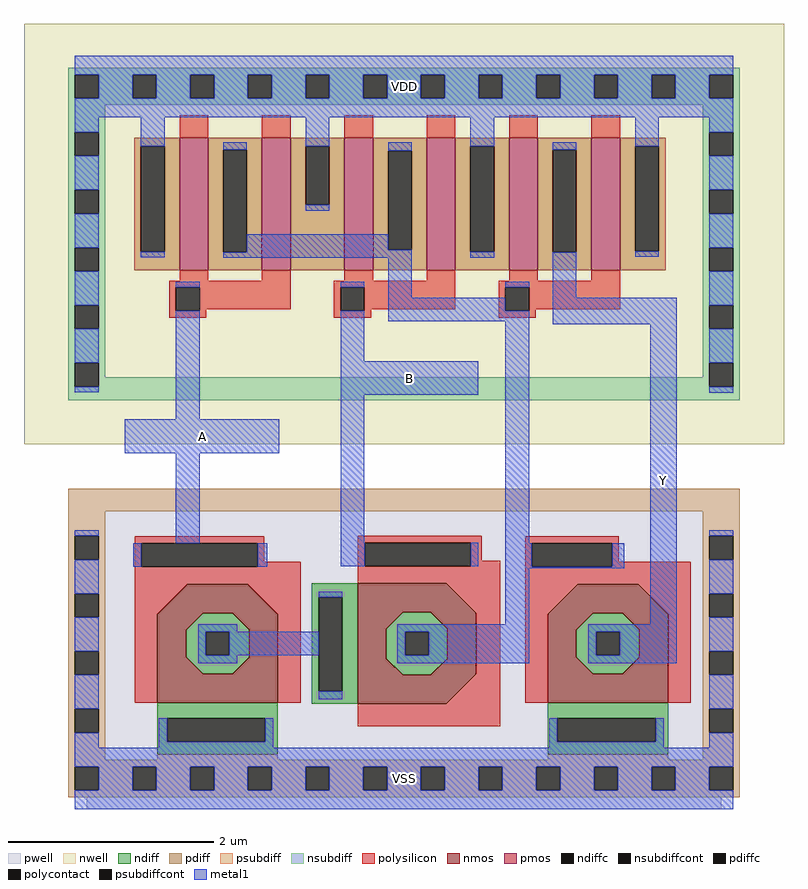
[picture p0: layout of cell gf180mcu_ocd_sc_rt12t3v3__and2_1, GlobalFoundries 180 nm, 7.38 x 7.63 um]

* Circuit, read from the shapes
.subckt gf180mcu_ocd_sc_rt12t3v3__and2_1 VDD VSS Y B A
XM1 n1 A VSS VSS nfet_03v3 w=1.785u l=0.5333u
XM2 n2 B n1 VSS nfet_03v3 w=1.785u l=0.5407u
XM3 Y n2 VSS VSS nfet_03v3 w=1.775u l=0.5371u
XM4 n2 A VDD VDD pfet_03v3 w=1.285u l=0.28u m=2
XM5 n2 B VDD VDD pfet_03v3 w=1.285u l=0.28u m=2
XM6 Y n2 VDD VDD pfet_03v3 w=1.285u l=0.28u m=2
.ends

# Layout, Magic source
magic
tech gf180mcuD
magscale 1 10
<< nwell >>
rect -122 649 1354 1466
<< pwell >>
rect -36 -36 1268 563
rect 0 -60 1232 -36
<< nmos >>
tri 137 319 195 377 se
rect 195 321 313 377
rect 195 319 223 321
tri 223 319 225 321 nw
tri 283 319 285 321 ne
rect 285 319 313 321
tri 313 319 371 377 sw
rect 137 203 193 319
tri 193 289 223 319 nw
tri 285 289 315 319 ne
tri 193 203 225 235 sw
tri 283 203 315 235 se
rect 315 203 371 319
rect 137 147 371 203
rect 526 359 698 379
tri 698 359 718 379 sw
rect 526 323 718 359
rect 526 201 582 323
tri 582 291 614 323 nw
tri 668 291 700 323 ne
rect 700 321 718 323
tri 718 321 756 359 sw
tri 582 201 614 233 sw
tri 698 231 700 233 se
rect 700 231 756 321
tri 668 201 698 231 se
rect 698 203 756 231
rect 526 145 698 201
tri 698 145 756 203 nw
tri 895 319 953 377 se
rect 953 321 1071 377
rect 953 319 981 321
tri 981 319 983 321 nw
tri 1041 319 1043 321 ne
rect 1043 319 1071 321
tri 1071 319 1129 377 sw
rect 895 203 951 319
tri 951 289 981 319 nw
tri 1043 289 1073 319 ne
tri 951 203 983 235 sw
tri 1041 203 1073 235 se
rect 1073 203 1129 319
rect 895 147 1129 203
<< pmos >>
rect 180 987 236 1244
rect 340 987 396 1244
rect 500 987 556 1244
rect 660 987 716 1244
rect 820 987 876 1244
rect 980 987 1036 1244
<< ndiff >>
tri 223 319 225 321 se
rect 225 319 283 321
tri 283 319 285 321 sw
tri 193 289 223 319 se
rect 223 289 285 319
tri 285 289 315 319 sw
rect 193 285 315 289
rect 193 239 231 285
rect 277 239 315 285
rect 193 235 315 239
tri 193 203 225 235 ne
rect 225 203 283 235
tri 283 203 315 235 nw
rect 437 352 526 379
rect 437 169 450 352
rect 496 169 526 352
tri 582 291 614 323 se
rect 614 291 668 323
tri 668 291 700 323 sw
rect 582 285 700 291
rect 582 239 618 285
rect 664 239 700 285
rect 582 233 700 239
tri 582 201 614 233 ne
rect 614 231 698 233
tri 698 231 700 233 nw
rect 614 201 668 231
tri 668 201 698 231 nw
rect 137 117 371 147
rect 437 145 526 169
tri 981 319 983 321 se
rect 983 319 1041 321
tri 1041 319 1043 321 sw
tri 951 289 981 319 se
rect 981 289 1043 319
tri 1043 289 1073 319 sw
rect 951 285 1073 289
rect 951 239 989 285
rect 1035 239 1073 285
rect 951 235 1073 239
tri 951 203 983 235 ne
rect 983 203 1041 235
tri 1041 203 1073 235 nw
rect 137 71 156 117
rect 347 71 371 117
rect 895 117 1129 147
rect 137 47 371 71
rect 895 71 914 117
rect 1105 71 1129 117
rect 895 47 1129 71
<< pdiff >>
rect 92 1228 180 1244
rect 92 1023 105 1228
rect 151 1023 180 1228
rect 92 987 180 1023
rect 236 1221 340 1244
rect 236 1022 265 1221
rect 311 1022 340 1221
rect 236 987 340 1022
rect 396 1228 500 1244
rect 396 1114 425 1228
rect 471 1114 500 1228
rect 396 987 500 1114
rect 556 1219 660 1244
rect 556 1027 585 1219
rect 631 1027 660 1219
rect 556 987 660 1027
rect 716 1228 820 1244
rect 716 1023 745 1228
rect 791 1023 820 1228
rect 716 987 820 1023
rect 876 1221 980 1244
rect 876 1022 905 1221
rect 951 1022 980 1221
rect 876 987 980 1022
rect 1036 1228 1124 1244
rect 1036 1024 1065 1228
rect 1111 1024 1124 1228
rect 1036 987 1124 1024
<< ndiffc >>
rect 231 239 277 285
rect 450 169 496 352
rect 618 239 664 285
rect 989 239 1035 285
rect 156 71 347 117
rect 914 71 1105 117
<< pdiffc >>
rect 105 1023 151 1228
rect 265 1022 311 1221
rect 425 1114 471 1228
rect 585 1027 631 1219
rect 745 1023 791 1228
rect 905 1022 951 1221
rect 1065 1024 1111 1228
<< psubdiff >>
rect -36 519 1268 563
rect -36 471 36 519
rect 1196 471 1268 519
rect -36 425 -23 471
rect 23 425 36 471
rect -36 359 36 425
rect -36 313 -23 359
rect 23 313 36 359
rect -36 247 36 313
rect -36 201 -23 247
rect 23 201 36 247
rect -36 135 36 201
rect -36 89 -23 135
rect 23 89 36 135
rect -36 36 36 89
rect 1196 425 1209 471
rect 1255 425 1268 471
rect 1196 359 1268 425
rect 1196 313 1209 359
rect 1255 313 1268 359
rect 1196 247 1268 313
rect 1196 201 1209 247
rect 1255 201 1268 247
rect 137 36 371 47
rect 895 36 1129 47
rect 1196 135 1268 201
rect 1196 89 1209 135
rect 1255 89 1268 135
rect 1196 36 1268 89
rect -36 23 1268 36
rect -36 -23 -23 23
rect 23 -23 89 23
rect 135 -23 201 23
rect 247 -23 313 23
rect 359 -23 425 23
rect 471 -23 537 23
rect 583 -23 649 23
rect 695 -23 761 23
rect 807 -23 873 23
rect 919 -23 985 23
rect 1031 -23 1097 23
rect 1143 -23 1209 23
rect 1255 -23 1268 23
rect -36 -36 1268 -23
<< nsubdiff >>
rect -36 1367 1268 1380
rect -36 1321 -23 1367
rect 23 1321 89 1367
rect 135 1321 201 1367
rect 247 1321 313 1367
rect 359 1321 425 1367
rect 471 1321 537 1367
rect 583 1321 649 1367
rect 695 1321 761 1367
rect 807 1321 873 1367
rect 919 1321 985 1367
rect 1031 1321 1097 1367
rect 1143 1321 1209 1367
rect 1255 1321 1268 1367
rect -36 1308 1268 1321
rect -36 1255 36 1308
rect -36 1209 -23 1255
rect 23 1209 36 1255
rect 1196 1255 1268 1308
rect -36 1143 36 1209
rect -36 1097 -23 1143
rect 23 1097 36 1143
rect -36 1031 36 1097
rect -36 985 -23 1031
rect 23 985 36 1031
rect 1196 1209 1209 1255
rect 1255 1209 1268 1255
rect 1196 1143 1268 1209
rect 1196 1097 1209 1143
rect 1255 1097 1268 1143
rect 1196 1031 1268 1097
rect -36 919 36 985
rect -36 873 -23 919
rect 23 873 36 919
rect 1196 985 1209 1031
rect 1255 985 1268 1031
rect 1196 919 1268 985
rect -36 807 36 873
rect -36 761 -23 807
rect 23 779 36 807
rect 1196 873 1209 919
rect 1255 873 1268 919
rect 1196 807 1268 873
rect 1196 779 1209 807
rect 23 761 1209 779
rect 1255 761 1268 807
rect -36 735 1268 761
<< psubdiffcont >>
rect -23 425 23 471
rect -23 313 23 359
rect -23 201 23 247
rect -23 89 23 135
rect 1209 425 1255 471
rect 1209 313 1255 359
rect 1209 201 1255 247
rect 1209 89 1255 135
rect -23 -23 23 23
rect 89 -23 135 23
rect 201 -23 247 23
rect 313 -23 359 23
rect 425 -23 471 23
rect 537 -23 583 23
rect 649 -23 695 23
rect 761 -23 807 23
rect 873 -23 919 23
rect 985 -23 1031 23
rect 1097 -23 1143 23
rect 1209 -23 1255 23
<< nsubdiffcont >>
rect -23 1321 23 1367
rect 89 1321 135 1367
rect 201 1321 247 1367
rect 313 1321 359 1367
rect 425 1321 471 1367
rect 537 1321 583 1367
rect 649 1321 695 1367
rect 761 1321 807 1367
rect 873 1321 919 1367
rect 985 1321 1031 1367
rect 1097 1321 1143 1367
rect 1209 1321 1255 1367
rect -23 1209 23 1255
rect -23 1097 23 1143
rect -23 985 23 1031
rect 1209 1209 1255 1255
rect 1209 1097 1255 1143
rect -23 873 23 919
rect 1209 985 1255 1031
rect -23 761 23 807
rect 1209 873 1255 919
rect 1209 761 1255 807
<< polysilicon >>
rect 180 1244 236 1288
rect 340 1244 396 1288
rect 500 1244 556 1288
rect 660 1244 716 1288
rect 820 1244 876 1288
rect 980 1244 1036 1288
rect 180 967 236 987
rect 340 967 396 987
rect 500 967 556 987
rect 660 967 716 987
rect 820 967 876 987
rect 980 967 1036 987
rect 160 954 396 967
rect 160 908 173 954
rect 219 911 396 954
rect 480 954 716 967
rect 219 908 232 911
rect 160 895 232 908
rect 480 908 493 954
rect 539 911 716 954
rect 800 954 1036 967
rect 539 908 552 911
rect 480 895 552 908
rect 800 908 813 954
rect 859 911 1036 954
rect 859 908 872 911
rect 800 895 872 908
rect 93 457 345 470
rect 93 411 106 457
rect 332 421 345 457
rect 526 458 767 471
rect 332 411 415 421
rect 93 377 415 411
rect 526 412 540 458
rect 746 423 767 458
rect 851 457 1033 470
rect 746 412 803 423
rect 526 379 803 412
rect 93 147 137 377
tri 137 319 195 377 nw
tri 313 319 371 377 ne
rect 371 147 415 377
tri 698 359 718 379 ne
rect 718 359 803 379
tri 718 321 756 359 ne
tri 698 145 756 203 se
rect 756 145 803 359
rect 851 411 864 457
rect 1020 421 1033 457
rect 1020 411 1173 421
rect 851 377 1173 411
rect 851 147 895 377
tri 895 319 953 377 nw
tri 1071 319 1129 377 ne
rect 1129 147 1173 377
rect 526 101 803 145
<< polycontact >>
rect 173 908 219 954
rect 493 908 539 954
rect 813 908 859 954
rect 106 411 332 457
rect 540 412 746 458
rect 864 411 1020 457
<< metal1 >>
rect -23 1367 1255 1404
rect 23 1321 89 1367
rect 135 1321 201 1367
rect 247 1321 313 1367
rect 359 1321 425 1367
rect 471 1321 537 1367
rect 583 1321 649 1367
rect 695 1321 761 1367
rect 807 1321 873 1367
rect 919 1321 985 1367
rect 1031 1321 1097 1367
rect 1143 1321 1209 1367
rect -23 1284 1255 1321
rect -23 1255 23 1284
rect -23 1143 23 1209
rect -23 1031 23 1097
rect 105 1228 151 1284
rect 105 1012 151 1023
rect 265 1221 311 1236
rect 425 1228 471 1284
rect 425 1103 471 1114
rect 585 1219 631 1236
rect 311 1027 585 1057
rect 311 1022 631 1027
rect 265 1011 631 1022
rect 745 1228 791 1284
rect 745 1011 791 1023
rect 905 1221 951 1236
rect -23 919 23 985
rect -23 807 23 873
rect -23 750 23 761
rect 173 954 219 965
rect 173 698 219 908
rect 493 954 539 965
rect 493 810 539 908
rect 585 934 631 1011
rect 813 954 859 965
rect 585 908 813 934
rect 585 888 859 908
rect 493 745 760 810
rect 74 632 374 698
rect -23 471 23 482
rect 173 457 219 632
rect 493 458 539 745
rect -23 359 23 425
rect 90 411 106 457
rect 332 411 350 457
rect 493 412 540 458
rect 746 412 760 458
rect 813 457 859 888
rect 905 934 951 1022
rect 1065 1228 1111 1284
rect 1065 1013 1111 1024
rect 1209 1255 1255 1284
rect 1209 1143 1255 1209
rect 1209 1031 1255 1097
rect 905 882 1146 934
rect 813 411 864 457
rect 1020 411 1044 457
rect 813 408 1044 411
rect -23 247 23 313
rect 450 352 496 363
rect 216 285 292 300
rect 216 239 231 285
rect 277 239 450 285
rect 216 224 292 239
rect -23 135 23 201
rect 813 300 859 408
rect 1094 300 1146 882
rect 1209 919 1255 985
rect 1209 807 1255 873
rect 1209 749 1255 761
rect 603 285 859 300
rect 603 239 618 285
rect 664 239 859 285
rect 603 224 859 239
rect 974 285 1146 300
rect 974 239 989 285
rect 1035 239 1146 285
rect 974 224 1146 239
rect 1209 471 1255 482
rect 1209 359 1255 425
rect 1209 247 1255 313
rect 450 154 496 169
rect 1209 135 1255 201
rect -23 60 23 89
rect 140 71 156 117
rect 347 71 362 117
rect 140 60 362 71
rect 898 71 914 117
rect 1105 71 1120 117
rect 898 60 1120 71
rect 1209 60 1255 89
rect -23 23 1255 60
rect 23 -23 89 23
rect 135 -23 201 23
rect 247 -23 313 23
rect 359 -23 425 23
rect 471 -23 537 23
rect 583 -23 649 23
rect 695 -23 761 23
rect 807 -23 873 23
rect 919 -23 985 23
rect 1031 -23 1097 23
rect 1143 -23 1209 23
rect -23 -60 1255 -23
<< labels >>
flabel metal1 s 0 -60 1232 60 0 FreeSans 400 0 0 0 VSS
port 4 nsew ground bidirectional abutment
flabel metal1 s 1094 224 1146 934 0 FreeSans 320 0 0 0 Y
port 8 nsew
flabel metal1 s 0 1284 1232 1404 0 FreeSans 400 0 0 0 VDD
port 1 nsew power bidirectional abutment
flabel metal1 s 493 745 760 810 0 FreeSans 320 0 0 0 B
port 9 nsew
flabel metal1 s 74 632 374 698 0 FreeSans 320 0 0 0 A
port 10 nsew
<< properties >>
string FIXED_BBOX 0 0 1232 1344
<< end >>
